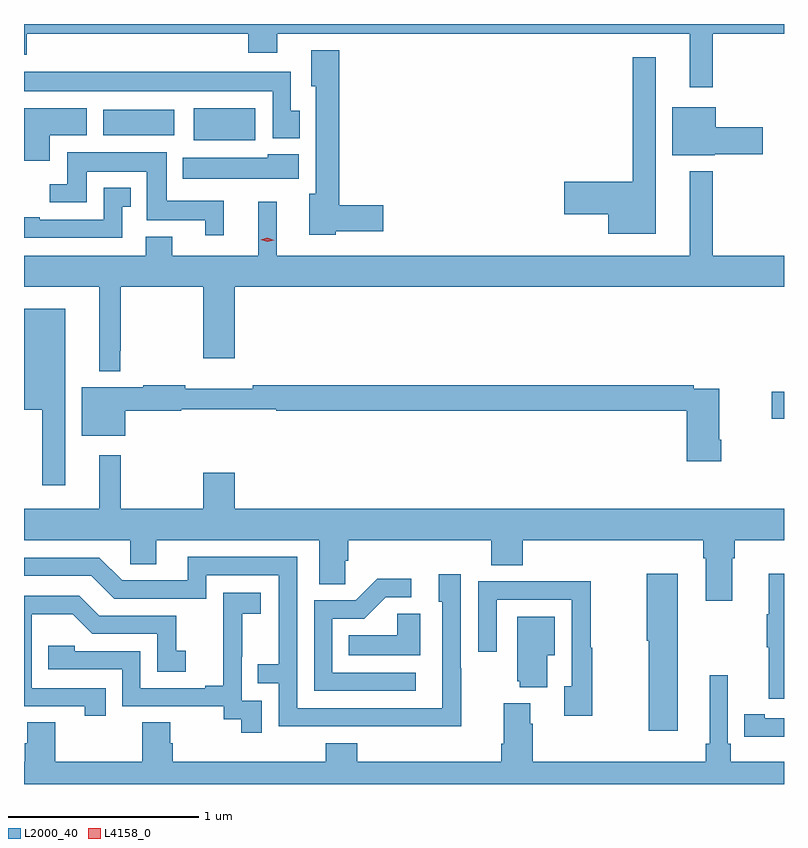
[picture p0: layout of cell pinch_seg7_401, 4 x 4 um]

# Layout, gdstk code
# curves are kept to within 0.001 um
import gdstk
lib = gdstk.Library(unit=1e-6, precision=1e-09)
def R(c, l, rs):  # rectangles x0, y0, x1, y1
    for r in rs: c.add(gdstk.rectangle(r[:2], r[2:], *l))
def P(c, l, *ps):  # polygons
    for p in ps: c.add(gdstk.Polygon(p, *l))
L2000_40 = (2000, 40)
L4158_0 = (4158, 0)

pinch_seg7_401 = lib.new_cell('pinch_seg7_401')
R(pinch_seg7_401, L2000_40, [(587.58,1019.902,587.644,1020.044), (584.537,1021.367,584.86,1021.537), (584.06,1021.394,584.434,1021.528)])
P(pinch_seg7_401, L2000_40, [(587.269,1021.928),(587.644,1021.928),(587.644,1021.98),(583.644,1021.98),(583.644,1021.817),(583.658,1021.817),(583.658,1021.928),(584.825,1021.928),(584.825,1021.829),(584.977,1021.829),(584.977,1021.928),(587.147,1021.928),(587.147,1021.647),(587.269,1021.647)],
  [(585.285,1020.89),(585.535,1020.89),(585.535,1021.025),(585.302,1021.025),(585.302,1021.843),(585.155,1021.843),(585.155,1021.653),(585.179,1021.653),(585.179,1021.086),(585.146,1021.086),(585.146,1020.872),(585.285,1020.872)],
  [(586.969,1021.804),(586.848,1021.804),(586.848,1021.151),(586.488,1021.151),(586.488,1020.98),(586.718,1020.98),(586.718,1020.875),(586.969,1020.875)],
  [(585.094,1021.524),(585.049,1021.524),(585.049,1021.729),(583.644,1021.729),(583.644,1021.625),(584.952,1021.625),(584.952,1021.38),(585.094,1021.38)],
  [(587.28,1021.295),(587.533,1021.295),(587.533,1021.437),(587.284,1021.437),(587.284,1021.543),(587.057,1021.543),(587.057,1021.289),(587.28,1021.289)],
  [(583.78,1021.394),(583.975,1021.394),(583.975,1021.537),(583.644,1021.537),(583.644,1021.26),(583.78,1021.26)],
  [(584.696,1021.051),(584.395,1021.051),(584.395,1021.306),(583.871,1021.306),(583.871,1021.137),(583.779,1021.137),(583.779,1021.041),(583.975,1021.041),(583.975,1021.202),(584.291,1021.202),(584.291,1020.947),(584.597,1020.947),(584.597,1020.867),(584.696,1020.867)],
  [(585.091,1021.294),(584.928,1021.294),(584.928,1021.276),(584.48,1021.276),(584.48,1021.166),(585.091,1021.166)],
  [(584.15,1020.259),(584.153,1020.259),(584.153,1020.596),(584.588,1020.596),(584.588,1020.222),(584.752,1020.222),(584.752,1020.596),(587.644,1020.596),(587.644,1020.76),(587.269,1020.76),(587.269,1021.204),(587.147,1021.204),(587.147,1020.76),(584.974,1020.76),(584.974,1021.045),(584.876,1021.045),(584.876,1020.76),(584.425,1020.76),(584.425,1020.859),(584.285,1020.859),(584.285,1020.76),(583.644,1020.76),(583.644,1020.596),(584.039,1020.596),(584.039,1020.152),(584.15,1020.152)],
  [(584.16,1021.017),(584.206,1021.017),(584.206,1021.117),(584.064,1021.117),(584.064,1020.951),(583.726,1020.951),(583.726,1020.964),(583.644,1020.964),(583.644,1020.855),(584.16,1020.855)],
  [(583.861,1020.481),(583.644,1020.481),(583.644,1019.951),(583.74,1019.951),(583.74,1019.553),(583.861,1019.553)],
  [(587.315,1019.791),(587.302,1019.791),(587.302,1020.06),(587.168,1020.06),(587.168,1020.08),(584.848,1020.08),(584.848,1020.061),(584.492,1020.061),(584.492,1020.08),(584.272,1020.08),(584.272,1020.067),(583.949,1020.067),(583.949,1019.813),(584.176,1019.813),(584.176,1019.944),(584.472,1019.944),(584.472,1019.952),(584.972,1019.952),(584.972,1019.944),(587.132,1019.944),(587.132,1019.679),(587.315,1019.679)],
  [(587.371,1019.168),(587.384,1019.168),(587.384,1019.264),(587.644,1019.264),(587.644,1019.428),(584.752,1019.428),(584.752,1019.617),(584.588,1019.617),(584.588,1019.428),(584.153,1019.428),(584.153,1019.71),(584.039,1019.71),(584.039,1019.428),(583.644,1019.428),(583.644,1019.264),(584.202,1019.264),(584.202,1019.137),(584.341,1019.137),(584.341,1019.264),(585.197,1019.264),(585.197,1019.032),(585.336,1019.032),(585.336,1019.155),(585.35,1019.155),(585.35,1019.264),(586.103,1019.264),(586.103,1019.131),(586.268,1019.131),(586.268,1019.264),(587.219,1019.264),(587.219,1019.168),(587.231,1019.168),(587.231,1018.944),(587.371,1018.944)],
  [(585.945,1018.589),(585.942,1018.589),(585.942,1019.083),(585.827,1019.083),(585.827,1018.938),(585.846,1018.938),(585.846,1018.38),(585.081,1018.38),(585.081,1019.175),(584.507,1019.175),(584.507,1019.052),(584.16,1019.052),(584.04,1019.172),(583.644,1019.172),(583.644,1019.076),(583.998,1019.076),(584.118,1018.956),(584.604,1018.956),(584.604,1019.079),(584.985,1019.079),(584.985,1018.61),(584.875,1018.61),(584.875,1018.509),(584.985,1018.509),(584.985,1018.284),(585.945,1018.283)],
  [(587.086,1019.086),(586.922,1019.086),(586.922,1018.734),(586.933,1018.734),(586.933,1018.26),(587.086,1018.26)],
  [(587.644,1019.086),(587.564,1019.086),(587.564,1018.873),(587.553,1018.873),(587.553,1018.699),(587.564,1018.699),(587.564,1018.428),(587.644,1018.428)],
  [(585.706,1018.566),(585.267,1018.566),(585.267,1018.851),(585.436,1018.851),(585.547,1018.962),(585.682,1018.962),(585.682,1019.06),(585.503,1019.06),(585.39,1018.947),(585.171,1018.947),(585.171,1018.47),(585.706,1018.47)],
  [(586.636,1018.697),(586.628,1018.697),(586.628,1019.048),(586.351,1019.048),(586.351,1019.046),(586.035,1019.046),(586.035,1018.677),(586.131,1018.677),(586.131,1018.95),(586.527,1018.95),(586.527,1018.494),(586.487,1018.494),(586.487,1018.338),(586.636,1018.338)],
  [(584.895,1018.419),(584.79,1018.419),(584.79,1018.649),(584.792,1018.649),(584.792,1018.877),(584.89,1018.877),(584.89,1018.987),(584.692,1018.987),(584.692,1018.781),(584.693,1018.781),(584.693,1018.498),(584.597,1018.498),(584.597,1018.485),(584.256,1018.485),(584.256,1018.68),(583.911,1018.68),(583.911,1018.707),(583.771,1018.707),(583.771,1018.584),(584.16,1018.584),(584.16,1018.389),(584.694,1018.389),(584.694,1018.321),(584.787,1018.321),(584.787,1018.251),(584.895,1018.251)],
  [(584.075,1018.485),(583.686,1018.485),(583.686,1018.874),(583.9,1018.874),(584.004,1018.77),(584.346,1018.77),(584.346,1018.572),(584.494,1018.572),(584.494,1018.681),(584.445,1018.681),(584.445,1018.866),(584.041,1018.866),(583.936,1018.971),(583.644,1018.971),(583.644,1018.389),(583.964,1018.389),(583.964,1018.338),(584.075,1018.338)],
  [(585.73,1018.877),(585.609,1018.877),(585.609,1018.762),(585.352,1018.762),(585.352,1018.658),(585.73,1018.658)],
  [(586.399,1018.658),(586.438,1018.658),(586.438,1018.861),(586.241,1018.861),(586.241,1018.521),(586.253,1018.521),(586.253,1018.49),(586.399,1018.49)],
  [(587.644,1018.096),(587.363,1018.096),(587.363,1018.192),(587.349,1018.192),(587.349,1018.552),(587.252,1018.552),(587.252,1018.192),(587.233,1018.192),(587.233,1018.096),(586.322,1018.096),(586.322,1018.298),(586.309,1018.298),(586.309,1018.405),(586.169,1018.405),(586.169,1018.192),(586.157,1018.192),(586.157,1018.096),(585.398,1018.096),(585.398,1018.195),(585.233,1018.195),(585.233,1018.096),(584.426,1018.096),(584.426,1018.194),(584.413,1018.194),(584.413,1018.304),(584.266,1018.304),(584.266,1018.096),(583.809,1018.096),(583.809,1018.304),(583.661,1018.304),(583.661,1018.194),(583.649,1018.194),(583.649,1018.096),(583.644,1018.096),(583.644,1017.98),(587.644,1017.98)],
  [(587.644,1018.326),(587.542,1018.326),(587.542,1018.346),(587.434,1018.346),(587.434,1018.23),(587.542,1018.23),(587.542,1018.229),(587.644,1018.229)])
P(pinch_seg7_401, L4158_0, [(584.925,1020.834),(584.889,1020.844),(584.889,1020.844),(584.889,1020.844),(584.925,1020.854),(584.961,1020.843),(584.961,1020.843),(584.961,1020.843)])

lib.write_gds('pinch_seg7_401.gds')
